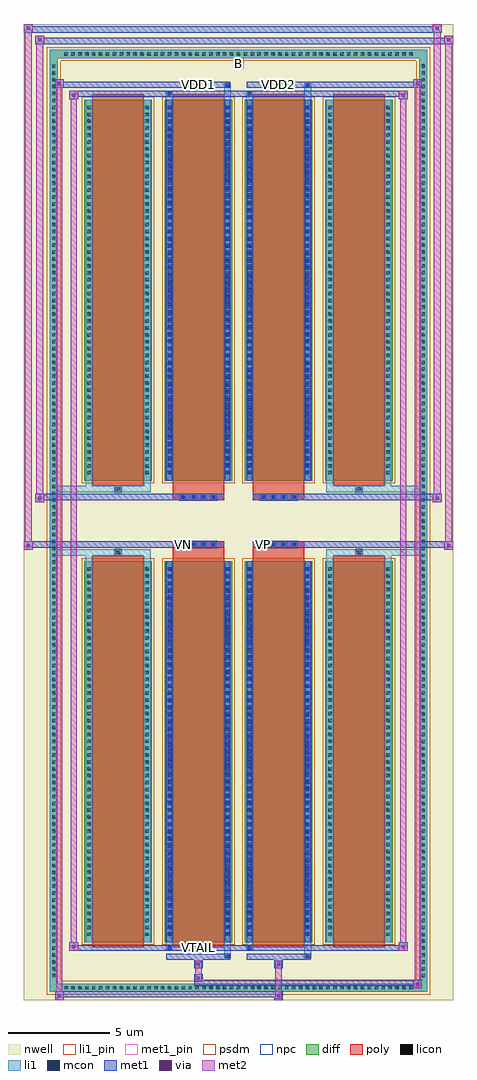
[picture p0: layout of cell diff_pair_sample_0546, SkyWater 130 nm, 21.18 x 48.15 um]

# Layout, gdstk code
import gdstk
lib = gdstk.Library(unit=1e-6, precision=5e-09)
def R(c, l, rs):  # rectangles x0, y0, x1, y1
    for r in rs: c.add(gdstk.rectangle(r[:2], r[2:], *l))
def A(c, l, x, y, w, h, nx, ny, dx, dy):  # array of equal rectangles
    R(c, l, [(x+i*dx, y+j*dy, x+i*dx+w, y+j*dy+h) for i in range(nx) for j in range(ny)])
def P(c, l, *ps):  # polygons
    for p in ps: c.add(gdstk.Polygon(p, *l))
nwell = (64, 20)
diff = (65, 20)
poly = (66, 20)
licon = (66, 44)
li1_pin = (67, 16)
li1 = (67, 20)
mcon = (67, 44)
met1_pin = (68, 16)
met1 = (68, 20)
via = (68, 44)
met2 = (69, 20)
psdm = (94, 20)
npc = (95, 20)

diff_pair_sample_0546 = lib.new_cell('diff_pair_sample_0546')
R(diff_pair_sample_0546, nwell, [(-10.59,-23.64,10.59,24.51), (-7.91,-21.83,-0.01,-0.805), (0.01,-21.83,7.91,-0.805), (-7.91,0.805,-0.01,21.83), (0.01,0.805,7.91,21.83)])
A(diff_pair_sample_0546, diff, -8.705, -23.24, 0.41, 0.41, 51, 2, 0.34, 46.07)
A(diff_pair_sample_0546, diff, -9.32, -22.645, 0.41, 0.41, 1, 133, 0, 0.34)
A(diff_pair_sample_0546, diff, 8.91, -22.645, 0.41, 0.41, 1, 133, 0, 0.34)
A(diff_pair_sample_0546, diff, -7.6, -20.785, 3.32, 18.8, 4, 2, 3.96, 22.77)
R(diff_pair_sample_0546, diff, [(-8.705,-23.24,8.705,-22.83), (-9.32,-22.645,-8.91,22.645), (8.91,-22.645,9.32,22.645), (-8.705,22.83,8.705,23.24)])
P(diff_pair_sample_0546, diff, [(9.32,23.24),(-9.32,23.24),(-9.32,-22.83),(-8.91,-22.83),(-8.91,22.83),(8.91,22.83),(8.91,-22.83),(-8.91,-22.83),(-9.32,-22.83),(-9.32,-23.24),(9.32,-23.24)])
A(diff_pair_sample_0546, poly, -7.21, -21.035, 2.54, 19.3, 4, 2, 3.96, 22.77)
A(diff_pair_sample_0546, poly, -2.895, -1.335, 0.33, 0.33, 4, 2, 0.5, 2.34)
A(diff_pair_sample_0546, poly, 1.065, -1.335, 0.33, 0.33, 4, 2, 0.5, 2.34)
R(diff_pair_sample_0546, poly, [(-6.105,-1.735,-5.775,-1.405), (-6.105,-1.735,-5.775,-1.405), (-3.25,-1.735,-0.71,-1.335), (0.71,-1.735,3.25,-1.335), (5.775,-1.735,6.105,-1.405), (5.775,-1.735,6.105,-1.405), (-3.25,-1.335,-0.71,-1.005), (0.71,-1.335,3.25,-1.005), (-3.25,1.005,-0.71,1.335), (0.71,1.005,3.25,1.335), (-3.25,1.335,-0.71,1.735), (0.71,1.335,3.25,1.735), (-6.105,1.405,-5.775,1.735), (-6.105,1.405,-5.775,1.735), (5.775,1.405,6.105,1.735), (5.775,1.405,6.105,1.735)])
A(diff_pair_sample_0546, licon, -8.585, -23.12, 0.17, 0.17, 51, 2, 0.34, 46.07)
A(diff_pair_sample_0546, licon, -9.2, -22.525, 0.17, 0.17, 1, 133, 0, 0.34)
A(diff_pair_sample_0546, licon, 9.03, -22.525, 0.17, 0.17, 1, 133, 0, 0.34)
A(diff_pair_sample_0546, licon, -7.46, -20.48, 0.17, 0.17, 1, 54, 0, 0.34)
A(diff_pair_sample_0546, licon, -4.59, -20.48, 0.17, 0.17, 1, 54, 0, 0.34)
A(diff_pair_sample_0546, licon, -3.5, -20.48, 0.17, 0.17, 1, 54, 0, 0.34)
A(diff_pair_sample_0546, licon, -0.63, -20.48, 0.17, 0.17, 1, 54, 0, 0.34)
A(diff_pair_sample_0546, licon, 0.46, -20.48, 0.17, 0.17, 1, 54, 0, 0.34)
A(diff_pair_sample_0546, licon, 3.33, -20.48, 0.17, 0.17, 1, 54, 0, 0.34)
A(diff_pair_sample_0546, licon, 4.42, -20.48, 0.17, 0.17, 1, 54, 0, 0.34)
A(diff_pair_sample_0546, licon, 7.29, -20.48, 0.17, 0.17, 1, 54, 0, 0.34)
A(diff_pair_sample_0546, licon, -2.815, -1.255, 0.17, 0.17, 4, 2, 0.5, 2.34)
A(diff_pair_sample_0546, licon, 1.145, -1.255, 0.17, 0.17, 4, 2, 0.5, 2.34)
A(diff_pair_sample_0546, licon, -7.46, 2.29, 0.17, 0.17, 1, 54, 0, 0.34)
A(diff_pair_sample_0546, licon, -4.59, 2.29, 0.17, 0.17, 1, 54, 0, 0.34)
A(diff_pair_sample_0546, licon, -3.5, 2.29, 0.17, 0.17, 1, 54, 0, 0.34)
A(diff_pair_sample_0546, licon, -0.63, 2.29, 0.17, 0.17, 1, 54, 0, 0.34)
A(diff_pair_sample_0546, licon, 0.46, 2.29, 0.17, 0.17, 1, 54, 0, 0.34)
A(diff_pair_sample_0546, licon, 3.33, 2.29, 0.17, 0.17, 1, 54, 0, 0.34)
A(diff_pair_sample_0546, licon, 4.42, 2.29, 0.17, 0.17, 1, 54, 0, 0.34)
A(diff_pair_sample_0546, licon, 7.29, 2.29, 0.17, 0.17, 1, 54, 0, 0.34)
R(diff_pair_sample_0546, licon, [(-6.025,-1.655,-5.855,-1.485), (5.855,-1.655,6.025,-1.485), (-6.025,1.485,-5.855,1.655), (5.855,1.485,6.025,1.655)])
R(diff_pair_sample_0546, li1_pin, [(-0.25,22.33,0.25,22.83)])
A(diff_pair_sample_0546, li1, -8.665, -23.2, 0.33, 0.33, 51, 2, 0.34, 46.07)
A(diff_pair_sample_0546, li1, -9.28, -22.605, 0.33, 0.33, 1, 133, 0, 0.34)
A(diff_pair_sample_0546, li1, 8.95, -22.605, 0.33, 0.33, 1, 133, 0, 0.34)
A(diff_pair_sample_0546, li1, -7.54, -20.56, 0.33, 0.33, 1, 54, 0, 0.34)
A(diff_pair_sample_0546, li1, -4.67, -20.56, 0.33, 0.33, 1, 54, 0, 0.34)
A(diff_pair_sample_0546, li1, -3.58, -20.56, 0.33, 0.33, 1, 54, 0, 0.34)
A(diff_pair_sample_0546, li1, -0.71, -20.56, 0.33, 0.33, 1, 54, 0, 0.34)
A(diff_pair_sample_0546, li1, 0.38, -20.56, 0.33, 0.33, 1, 54, 0, 0.34)
A(diff_pair_sample_0546, li1, 3.25, -20.56, 0.33, 0.33, 1, 54, 0, 0.34)
A(diff_pair_sample_0546, li1, 4.34, -20.56, 0.33, 0.33, 1, 54, 0, 0.34)
A(diff_pair_sample_0546, li1, 7.21, -20.56, 0.33, 0.33, 1, 54, 0, 0.34)
A(diff_pair_sample_0546, li1, -3.5, -20.47, 0.17, 0.17, 1, 51, 0, 0.36)
A(diff_pair_sample_0546, li1, -0.63, -20.47, 0.17, 0.17, 1, 51, 0, 0.36)
A(diff_pair_sample_0546, li1, 0.46, -20.47, 0.17, 0.17, 1, 51, 0, 0.36)
A(diff_pair_sample_0546, li1, 3.33, -20.47, 0.17, 0.17, 1, 51, 0, 0.36)
A(diff_pair_sample_0546, li1, -2.895, -1.335, 0.33, 0.33, 4, 2, 0.5, 2.34)
A(diff_pair_sample_0546, li1, 1.065, -1.335, 0.33, 0.33, 4, 2, 0.5, 2.34)
A(diff_pair_sample_0546, li1, -7.54, 2.21, 0.33, 0.33, 1, 54, 0, 0.34)
A(diff_pair_sample_0546, li1, -4.67, 2.21, 0.33, 0.33, 1, 54, 0, 0.34)
A(diff_pair_sample_0546, li1, -3.58, 2.21, 0.33, 0.33, 1, 54, 0, 0.34)
A(diff_pair_sample_0546, li1, -0.71, 2.21, 0.33, 0.33, 1, 54, 0, 0.34)
A(diff_pair_sample_0546, li1, 0.38, 2.21, 0.33, 0.33, 1, 54, 0, 0.34)
A(diff_pair_sample_0546, li1, 3.25, 2.21, 0.33, 0.33, 1, 54, 0, 0.34)
A(diff_pair_sample_0546, li1, 4.34, 2.21, 0.33, 0.33, 1, 54, 0, 0.34)
A(diff_pair_sample_0546, li1, 7.21, 2.21, 0.33, 0.33, 1, 54, 0, 0.34)
A(diff_pair_sample_0546, li1, -3.5, 2.3, 0.17, 0.17, 1, 51, 0, 0.36)
A(diff_pair_sample_0546, li1, -0.63, 2.3, 0.17, 0.17, 1, 51, 0, 0.36)
A(diff_pair_sample_0546, li1, 0.46, 2.3, 0.17, 0.17, 1, 51, 0, 0.36)
A(diff_pair_sample_0546, li1, 3.33, 2.3, 0.17, 0.17, 1, 51, 0, 0.36)
R(diff_pair_sample_0546, li1, [(-9.32,-23.24,-8.91,-22.83), (-9.32,-23.24,-8.91,-22.83), (-8.91,-23.24,8.91,-22.83), (8.91,-23.24,9.32,-22.83), (8.91,-23.24,9.32,-22.83), (-9.32,-22.83,-8.91,22.83), (8.91,-22.83,9.32,22.83), (-0.71,-21.59,-0.38,-20.785), (-0.63,-21.59,-0.46,-21.42), (3.25,-21.59,3.58,-20.785), (3.33,-21.59,3.5,-21.42), (-3.58,-21.16,-3.25,-20.785), (-3.5,-21.16,-3.33,-20.99), (0.38,-21.16,0.71,-20.785), (0.46,-21.16,0.63,-20.99), (-7.54,-20.785,-7.21,-1.985), (-4.67,-20.785,-4.34,-1.985), (-3.58,-20.785,-3.25,-1.985), (-0.71,-20.785,-0.38,-1.985), (0.38,-20.785,0.71,-1.985), (3.25,-20.785,3.58,-1.985), (4.34,-20.785,4.67,-1.985), (7.21,-20.785,7.54,-1.985), (-3.5,-20.47,-3.33,-2.3), (-0.63,-20.47,-0.46,-2.3), (0.46,-20.47,0.63,-2.3), (3.33,-20.47,3.5,-2.3), (-7.54,-1.985,-7.21,-1.405), (-4.67,-1.985,-4.34,-1.405), (4.34,-1.985,4.67,-1.405), (7.21,-1.985,7.54,-1.405), (-9.32,-1.735,-6.105,-1.405), (-7.54,-1.735,-6.105,-1.405), (-6.105,-1.735,-5.775,-1.405), (-5.775,-1.735,-4.34,-1.405), (4.34,-1.735,5.775,-1.405), (5.775,-1.735,6.105,-1.405), (5.775,-1.735,9.32,-1.405), (6.105,-1.735,7.54,-1.405), (-9.32,1.405,-6.105,1.735), (-7.54,1.405,-6.105,1.735), (-7.54,1.405,-7.21,1.985), (-6.105,1.405,-5.775,1.735), (-5.775,1.405,-4.34,1.735), (-4.67,1.405,-4.34,1.985), (4.34,1.405,5.775,1.735), (4.34,1.405,4.67,1.985), (5.775,1.405,6.105,1.735), (5.775,1.405,9.32,1.735), (6.105,1.405,7.54,1.735), (7.21,1.405,7.54,1.985), (-7.54,1.985,-7.21,20.785), (-4.67,1.985,-4.34,20.785), (-3.58,1.985,-3.25,20.785), (-0.71,1.985,-0.38,20.785), (0.38,1.985,0.71,20.785), (3.25,1.985,3.58,20.785), (4.34,1.985,4.67,20.785), (7.21,1.985,7.54,20.785), (-3.5,2.3,-3.33,20.47), (-0.63,2.3,-0.46,20.47), (0.46,2.3,0.63,20.47), (3.33,2.3,3.5,20.47), (-3.58,20.785,-3.25,21.16), (-0.71,20.785,-0.38,21.59), (0.38,20.785,0.71,21.16), (3.25,20.785,3.58,21.59), (-3.5,20.99,-3.33,21.16), (0.46,20.99,0.63,21.16), (-0.63,21.42,-0.46,21.59), (3.33,21.42,3.5,21.59), (-9.32,22.83,-8.91,23.24), (-9.32,22.83,-8.91,23.24), (-8.91,22.83,8.91,23.24), (8.91,22.83,9.32,23.24), (8.91,22.83,9.32,23.24)])
A(diff_pair_sample_0546, mcon, -3.5, -20.47, 0.17, 0.17, 1, 51, 0, 0.36)
A(diff_pair_sample_0546, mcon, -0.63, -20.47, 0.17, 0.17, 1, 51, 0, 0.36)
A(diff_pair_sample_0546, mcon, 0.46, -20.47, 0.17, 0.17, 1, 51, 0, 0.36)
A(diff_pair_sample_0546, mcon, 3.33, -20.47, 0.17, 0.17, 1, 51, 0, 0.36)
A(diff_pair_sample_0546, mcon, -2.815, -1.255, 0.17, 0.17, 4, 2, 0.5, 2.34)
A(diff_pair_sample_0546, mcon, 1.145, -1.255, 0.17, 0.17, 4, 2, 0.5, 2.34)
A(diff_pair_sample_0546, mcon, -3.5, 2.3, 0.17, 0.17, 1, 51, 0, 0.36)
A(diff_pair_sample_0546, mcon, -0.63, 2.3, 0.17, 0.17, 1, 51, 0, 0.36)
A(diff_pair_sample_0546, mcon, 0.46, 2.3, 0.17, 0.17, 1, 51, 0, 0.36)
A(diff_pair_sample_0546, mcon, 3.33, 2.3, 0.17, 0.17, 1, 51, 0, 0.36)
R(diff_pair_sample_0546, mcon, [(-0.63,-21.59,-0.46,-21.42), (3.33,-21.59,3.5,-21.42), (-3.5,-21.16,-3.33,-20.99), (0.46,-21.16,0.63,-20.99), (-3.5,20.99,-3.33,21.16), (0.46,20.99,0.63,21.16), (-0.63,21.42,-0.46,21.59), (3.33,21.42,3.5,21.59)])
R(diff_pair_sample_0546, met1_pin, [(-2.115,-21.2,-1.845,-20.93), (-2.865,-1.295,-2.595,-1.025), (1.095,-1.295,1.365,-1.025), (-2.115,21.38,-1.845,21.65), (1.845,21.38,2.115,21.65)])
A(diff_pair_sample_0546, met1, -3.56, -20.53, 0.29, 0.29, 1, 51, 0, 0.36)
A(diff_pair_sample_0546, met1, -0.69, -20.53, 0.29, 0.29, 1, 51, 0, 0.36)
A(diff_pair_sample_0546, met1, 0.4, -20.53, 0.29, 0.29, 1, 51, 0, 0.36)
A(diff_pair_sample_0546, met1, 3.27, -20.53, 0.29, 0.29, 1, 51, 0, 0.36)
A(diff_pair_sample_0546, met1, -2.875, -1.315, 0.29, 0.29, 4, 2, 0.5, 2.34)
A(diff_pair_sample_0546, met1, 1.085, -1.315, 0.29, 0.29, 4, 2, 0.5, 2.34)
A(diff_pair_sample_0546, met1, -3.56, 2.24, 0.29, 0.29, 1, 51, 0, 0.36)
A(diff_pair_sample_0546, met1, -0.69, 2.24, 0.29, 0.29, 1, 51, 0, 0.36)
A(diff_pair_sample_0546, met1, 0.4, 2.24, 0.29, 0.29, 1, 51, 0, 0.36)
A(diff_pair_sample_0546, met1, 3.27, 2.24, 0.29, 0.29, 1, 51, 0, 0.36)
R(diff_pair_sample_0546, met1, [(-9.05,-23.64,-8.62,-23.21), (1.765,-23.64,2.195,-23.21), (-9.05,-23.5,2.195,-23.21), (8.62,-23.07,9.05,-22.64), (-2.195,-22.93,9.05,-22.64), (-2.195,-22.79,-1.765,-22.36), (-2.195,-22.08,-1.765,-21.65), (1.765,-22.08,2.195,-21.65), (-3.56,-21.65,-0.4,-21.36), (-0.69,-21.65,-0.4,-21.36), (0.4,-21.65,3.56,-21.36), (3.27,-21.65,3.56,-21.36), (-8.34,-21.22,-7.91,-20.79), (-8.34,-21.22,-3.56,-20.93), (-3.56,-21.22,-3.27,-20.93), (-3.56,-21.22,-0.4,-20.93), (-0.4,-21.22,0.4,-20.93), (0.4,-21.22,0.69,-20.93), (0.4,-21.22,3.56,-20.93), (3.56,-21.22,8.34,-20.93), (7.91,-21.22,8.34,-20.79), (-3.56,-20.785,-3.27,-1.985), (-0.69,-20.785,-0.4,-1.985), (0.4,-20.785,0.69,-1.985), (3.27,-20.785,3.56,-1.985), (-10.59,-1.435,-10.16,-1.005), (10.16,-1.435,10.59,-1.005), (-10.59,-1.335,-0.71,-1.005), (-3.25,-1.335,-0.71,-1.005), (0.71,-1.335,3.25,-1.005), (0.71,-1.335,10.59,-1.005), (-10.02,0.905,-9.59,1.335), (9.59,0.905,10.02,1.335), (-10.02,1.005,-3.25,1.335), (-3.25,1.005,-0.71,1.335), (0.71,1.005,3.25,1.335), (3.25,1.005,10.02,1.335), (-3.56,1.985,-3.27,20.785), (-0.69,1.985,-0.4,20.785), (0.4,1.985,0.69,20.785), (3.27,1.985,3.56,20.785), (-8.34,20.79,-7.91,21.22), (7.91,20.79,8.34,21.22), (-8.34,20.93,-3.56,21.22), (-3.56,20.93,-3.27,21.22), (-3.56,20.93,-0.4,21.22), (-0.4,20.93,0.4,21.22), (0.4,20.93,0.69,21.22), (0.4,20.93,3.56,21.22), (3.56,20.93,8.34,21.22), (-9.05,21.36,-8.62,21.79), (-9.05,21.36,-3.56,21.65), (-3.56,21.36,-0.4,21.65), (-0.69,21.36,-0.4,21.65), (0.4,21.36,3.56,21.65), (3.27,21.36,3.56,21.65), (3.56,21.36,9.05,21.65), (8.62,21.36,9.05,21.79), (-10.02,23.51,-9.59,23.94), (-10.02,23.51,-7.91,23.84), (-7.91,23.51,7.91,23.84), (7.91,23.51,10.59,23.84), (10.16,23.51,10.59,23.94), (-10.59,24.08,-10.16,24.51), (-10.59,24.08,-7.91,24.41), (-7.91,24.08,7.91,24.41), (7.91,24.08,10.02,24.41), (9.59,24.08,10.02,24.51)])
R(diff_pair_sample_0546, via, [(-8.91,-23.5,-8.76,-23.35), (1.905,-23.5,2.055,-23.35), (8.76,-22.93,8.91,-22.78), (-2.055,-22.65,-1.905,-22.5), (-2.055,-21.94,-1.905,-21.79), (1.905,-21.94,2.055,-21.79), (-8.2,-21.08,-8.05,-20.93), (8.05,-21.08,8.2,-20.93), (-10.45,-1.295,-10.3,-1.145), (10.3,-1.295,10.45,-1.145), (-9.88,1.045,-9.73,1.195), (9.73,1.045,9.88,1.195), (-8.2,20.93,-8.05,21.08), (8.05,20.93,8.2,21.08), (-8.91,21.5,-8.76,21.65), (8.76,21.5,8.91,21.65), (-9.88,23.65,-9.73,23.8), (10.3,23.65,10.45,23.8), (-10.45,24.22,-10.3,24.37), (9.73,24.22,9.88,24.37)])
R(diff_pair_sample_0546, met2, [(-9.05,-23.64,-8.62,-23.21), (-8.98,-23.64,-8.69,21.79), (-8.69,-23.64,-8.62,-23.21), (-9,-23.59,-8.67,-23.26), (1.815,-23.59,2.145,-23.26), (1.815,-23.26,2.145,-22.03), (8.62,-23.07,9.05,-22.64), (8.69,-23.07,8.98,21.79), (8.98,-23.07,9.05,-22.64), (8.67,-23.02,9,-22.69), (-2.145,-22.74,-1.815,-22.41), (-2.145,-22.41,-1.815,-22.03), (-2.145,-22.03,-1.815,-21.7), (1.815,-22.03,2.145,-21.7), (-8.34,-21.22,-7.91,-20.79), (-8.27,-21.22,-7.98,21.22), (-7.98,-21.22,-7.91,-20.79), (7.91,-21.22,8.34,-20.79), (7.98,-21.22,8.27,21.22), (8.27,-21.22,8.34,-20.79), (-8.29,-21.17,-7.96,-20.84), (7.96,-21.17,8.29,-20.84), (-10.59,-1.435,-10.16,-1.005), (-10.54,-1.435,-10.21,24.51), (-10.21,-1.435,-10.16,-1.005), (10.16,-1.435,10.59,-1.005), (10.21,-1.435,10.54,23.94), (10.54,-1.435,10.59,-1.005), (-10.54,-1.385,-10.21,-1.055), (10.21,-1.385,10.54,-1.055), (-10.02,0.905,-9.59,1.335), (-9.97,0.905,-9.64,23.94), (-9.64,0.905,-9.59,1.335), (9.59,0.905,10.02,1.335), (9.64,0.905,9.97,24.51), (9.97,0.905,10.02,1.335), (-9.97,0.955,-9.64,1.285), (9.64,0.955,9.97,1.285), (-8.34,20.79,-7.91,21.22), (-7.98,20.79,-7.91,21.22), (7.91,20.79,8.34,21.22), (8.27,20.79,8.34,21.22), (-8.29,20.84,-7.96,21.17), (7.96,20.84,8.29,21.17), (-9.05,21.36,-8.62,21.79), (-8.69,21.36,-8.62,21.79), (8.62,21.36,9.05,21.79), (8.98,21.36,9.05,21.79), (-9,21.41,-8.67,21.74), (8.67,21.41,9,21.74), (-10.02,23.51,-9.59,23.94), (-9.64,23.51,-9.59,23.94), (10.16,23.51,10.59,23.94), (10.54,23.51,10.59,23.94), (-9.97,23.56,-9.64,23.89), (10.21,23.56,10.54,23.89), (-10.59,24.08,-10.16,24.51), (-10.21,24.08,-10.16,24.51), (9.59,24.08,10.02,24.51), (9.97,24.08,10.02,24.51), (-10.54,24.13,-10.21,24.46), (9.64,24.13,9.97,24.46)])
A(diff_pair_sample_0546, psdm, -7.73, -20.915, 3.58, 19.06, 4, 2, 3.96, 22.77)
P(diff_pair_sample_0546, psdm, [(9.45,23.37),(-9.45,23.37),(-9.45,-22.7),(-8.78,-22.7),(-8.78,22.7),(8.78,22.7),(8.78,-22.7),(-8.78,-22.7),(-9.45,-22.7),(-9.45,-23.37),(9.45,-23.37)])
A(diff_pair_sample_0546, npc, -2.915, -1.355, 0.37, 0.37, 4, 2, 0.5, 2.34)
A(diff_pair_sample_0546, npc, 1.045, -1.355, 0.37, 0.37, 4, 2, 0.5, 2.34)
R(diff_pair_sample_0546, npc, [(-6.125,-1.755,-5.755,-1.385), (5.755,-1.755,6.125,-1.385), (-2.915,-1.355,-2.045,-0.985), (-2.915,-1.355,-2.045,-0.985), (-2.415,-1.355,-1.545,-0.985), (-2.415,-1.355,-1.545,-0.985), (-1.915,-1.355,-1.045,-0.985), (-1.915,-1.355,-1.045,-0.985), (1.045,-1.355,1.915,-0.985), (1.045,-1.355,1.915,-0.985), (1.545,-1.355,2.415,-0.985), (1.545,-1.355,2.415,-0.985), (2.045,-1.355,2.915,-0.985), (2.045,-1.355,2.915,-0.985), (-2.915,0.985,-2.045,1.355), (-2.915,0.985,-2.045,1.355), (-2.415,0.985,-1.545,1.355), (-2.415,0.985,-1.545,1.355), (-1.915,0.985,-1.045,1.355), (-1.915,0.985,-1.045,1.355), (1.045,0.985,1.915,1.355), (1.045,0.985,1.915,1.355), (1.545,0.985,2.415,1.355), (1.545,0.985,2.415,1.355), (2.045,0.985,2.915,1.355), (2.045,0.985,2.915,1.355), (-6.125,1.385,-5.755,1.755), (5.755,1.385,6.125,1.755)])
diff_pair_sample_0546.add(gdstk.Label('VTAIL', (-1.98,-21.065), layer=68, texttype=5))
diff_pair_sample_0546.add(gdstk.Label('VN', (-2.73,-1.16), layer=68, texttype=5))
diff_pair_sample_0546.add(gdstk.Label('VP', (1.23,-1.16), layer=68, texttype=5))
diff_pair_sample_0546.add(gdstk.Label('B', (0,22.58), layer=67, texttype=5))
diff_pair_sample_0546.add(gdstk.Label('VDD2', (1.98,21.515), layer=68, texttype=5))
diff_pair_sample_0546.add(gdstk.Label('VDD1', (-1.98,21.515), layer=68, texttype=5))

lib.write_gds('diff_pair_sample_0546.gds')
